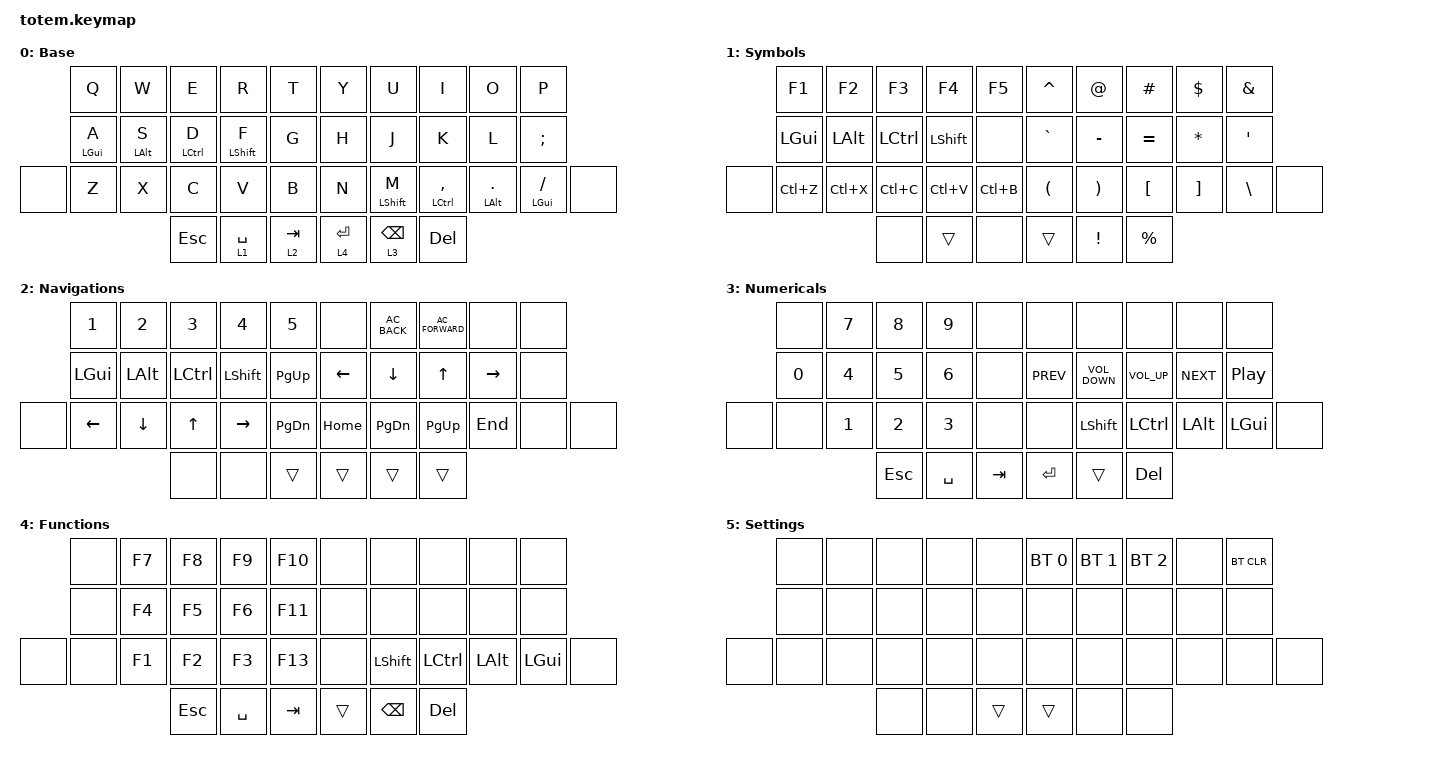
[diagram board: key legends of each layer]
//
//                                                        ▀▀▀▀▀     ▀▀▀▀▀          ▀▀█▀▀
//                                                        ▄▀▀▀▄  ▄  ▄▀▀▀▄  ▄  ▄▀▀▀▄  █  ▄▀▀▀▄
//                                                        █   █  █  █   █  █  █   █  █  █   █
//                                                         ▀▀▀   █   ▀▀▀   █   ▀▀▀   ▀   ▀▀▀
//                                                               █      ▄▄▄█▄▄▄    █   █  
//                                                               ▀      █  █  █     █▄█
//                                                             ▀▀▀▀▀    █  █  █      ▀
//                                                                      ▀  ▀  ▀
//
// ▄▄▄▄▄▄▄▄▄▄▄▄▄▄▄▄▄▄▄▄▄▄▄▄▄▄▄▄▄▄▄▄▄▄▄▄▄▄▄▄▄▄▄▄▄▄▄▄▄▄▄▄▄▄▄▄▄▄▄▄▄▄▄▄▄▄▄▄▄▄▄▄▄▄▄▄▄▄▄▄▄▄▄▄▄▄▄▄▄▄▄▄▄▄▄▄▄▄▄▄▄▄▄▄▄▄▄▄▄▄▄▄▄▄▄▄▄▄▄▄▄▄▄▄▄▄▄▄▄▄▄▄▄▄▄▄▄▄▄▄▄▄▄▄▄▄▄▄▄

#define ZMK_POINTING_DEFAULT_MOVE_VAL 3000
#define ZMK_POINTING_DEFAULT_SCRL_VAL 20

#include <behaviors.dtsi>
#include <dt-bindings/zmk/bt.h>
#include <dt-bindings/zmk/keys.h>

&mmv {
    time-to-max-speed-ms = <1200>;
    acceleration-exponent = <1>;
    delay-ms = <0>;
};

&msc {
    delay-ms = <0>;
    time-to-max-speed-ms = <5000>;
    acceleration-exponent = <0>;
};

/ {
    behaviors {
        HMShiftR: HMShiftR {
            compatible = "zmk,behavior-hold-tap";
            label = "HMSHIFTR";
            bindings = <&kp>, <&kp>;

            #binding-cells = <2>;
            tapping-term-ms = <200>;
            hold-trigger-key-positions = <0 1 3 4 10 11 12 13 14 20 21 22 23 24 25 32 33 34 2>;
            hold-trigger-on-release;
            flavor = "balanced";
        };

        HMShiftL: HMShiftL {
            compatible = "zmk,behavior-hold-tap";
            label = "HMSHIFTL";
            bindings = <&kp>, <&kp>;

            #binding-cells = <2>;
            tapping-term-ms = <200>;
            hold-trigger-on-release;
            hold-trigger-key-positions = <5 6 8 9 15 16 17 18 19 26 27 28 29 30 31 36 37 7 35>;
            flavor = "balanced";
        };

        HMR: HMR {
            compatible = "zmk,behavior-hold-tap";
            label = "HMR";
            bindings = <&kp>, <&kp>;

            #binding-cells = <2>;
            tapping-term-ms = <200>;
            hold-trigger-key-positions = <0 1 2 3 4 10 11 12 13 14 20 21 22 23 24 25 32 33 34>;
            hold-trigger-on-release;
            flavor = "balanced";
        };

        HML: HML {
            compatible = "zmk,behavior-hold-tap";
            label = "HML";
            bindings = <&kp>, <&kp>;

            #binding-cells = <2>;
            tapping-term-ms = <200>;
            hold-trigger-on-release;
            hold-trigger-key-positions = <5 6 7 8 9 15 16 17 18 19 26 27 28 29 30 31 35 36 37>;
            flavor = "balanced";
        };

        del_ins: delete_insert {
            compatible = "zmk,behavior-mod-morph";
            label = "DEL_INS";
            bindings = <&kp DELETE>, <&kp INSERT>;

            #binding-cells = <0>;
            mods = <(MOD_LSFT|MOD_RSFT)>;
        };
    };

    combos {
        compatible = "zmk,combos";

        combo_caps_words {
            bindings = <&caps_word>;
            key-positions = <13 27>;
            layers = <0>;
            timeout-ms = <100>;
        };
    };

    keymap {
        compatible = "zmk,keymap";

        Base {
            bindings = <
       &kp Q            &kp W            &kp E         &kp R                   &kp T        &kp Y        &kp U                   &kp I                    &kp O                 &kp P
       &HML LEFT_GUI A  &HML LEFT_ALT S  &HML LCTRL D  &HMShiftL LEFT_SHIFT F  &kp G        &kp H        &kp J                   &kp K                    &kp L                 &kp SEMICOLON
&none  &kp Z            &kp X            &kp C         &kp V                   &kp B        &kp N        &HMShiftR LEFT_SHIFT M  &HMR LEFT_CONTROL COMMA  &HMR LEFT_ALT PERIOD  &HMR LGUI SLASH  &none
                                         &kp ESCAPE    &lt 1 SPACE             &lt 2 TAB    &lt 4 ENTER  &lt 3 BACKSPACE         &kp DELETE
            >;
        };

        Symbols {
            bindings = <
       &kp F1     &kp F2        &kp F3            &kp F4          &kp F5       &kp CARET             &kp AT                 &kp HASH          &kp DOLLAR         &kp AMPERSAND
       &kp LGUI   &kp LEFT_ALT  &kp LEFT_CONTROL  &kp LEFT_SHIFT  &none        &kp GRAVE             &kp MINUS              &kp EQUAL         &kp STAR           &kp APOSTROPHE
&none  &kp LC(Z)  &kp LC(X)     &kp LC(C)         &kp LC(V)       &kp LC(B)    &kp LEFT_PARENTHESIS  &kp RIGHT_PARENTHESIS  &kp LEFT_BRACKET  &kp RIGHT_BRACKET  &kp BACKSLASH   &none
                                &none             &trans          &none        &trans                &kp EXCLAMATION        &kp PERCENT
            >;
        };

        Navigations {
            bindings = <
       &kp NUMBER_1  &kp NUMBER_2  &kp NUMBER_3      &kp NUMBER_4    &kp NUMBER_5     &none     &kp C_AC_BACK  &kp C_AC_FORWARD  &none      &none
       &kp LGUI      &kp LEFT_ALT  &kp LEFT_CONTROL  &kp LEFT_SHIFT  &kp PAGE_UP      &kp LEFT  &kp DOWN       &kp UP_ARROW      &kp RIGHT  &none
&none  &kp LEFT      &kp DOWN      &kp UP_ARROW      &kp RIGHT       &kp PAGE_DOWN    &kp HOME  &kp PAGE_DOWN  &kp PAGE_UP       &kp END    &none  &none
                                   &none             &none           &trans           &trans    &trans         &trans
            >;
        };

        Numericals {
            bindings = <
       &none         &kp N7  &kp N8      &kp N9     &none      &none       &none              &none             &none         &none
       &kp NUMBER_0  &kp N4  &kp N5      &kp N6     &none      &kp C_PREV  &kp C_VOLUME_DOWN  &kp C_VOLUME_UP   &kp C_NEXT    &kp C_PLAY_PAUSE
&none  &none         &kp N1  &kp N2      &kp N3     &none      &none       &kp LEFT_SHIFT     &kp LEFT_CONTROL  &kp LEFT_ALT  &kp LGUI          &none
                             &kp ESCAPE  &kp SPACE  &kp TAB    &kp ENTER   &trans             &kp DELETE
            >;
        };

        Functions {
            bindings = <
       &none  &kp F7  &kp F8      &kp F9     &kp F10    &none   &none           &none             &none         &none
       &none  &kp F4  &kp F5      &kp F6     &kp F11    &none   &none           &none             &none         &none
&none  &none  &kp F1  &kp F2      &kp F3     &kp F13    &none   &kp LEFT_SHIFT  &kp LEFT_CONTROL  &kp LEFT_ALT  &kp LGUI  &none
                      &kp ESCAPE  &kp SPACE  &kp TAB    &trans  &kp BACKSPACE   &kp DELETE
            >;
        };

        Settings {
            bindings = <
       &none  &none  &none  &none  &none     &bt BT_SEL 0  &bt BT_SEL 1  &bt BT_SEL 2  &none  &bt BT_CLR
       &none  &none  &none  &none  &none     &none         &none         &none         &none  &none
&none  &none  &none  &none  &none  &none     &none         &none         &none         &none  &none       &none
                     &none  &none  &trans    &trans        &none         &none
            >;
        };
    };

    conditional_layers {
        compatible = "zmk,conditional-layers";

        cond_nav_func {
            if-layers = <2 4>;
            then-layer = <5>;
        };
    };
};
